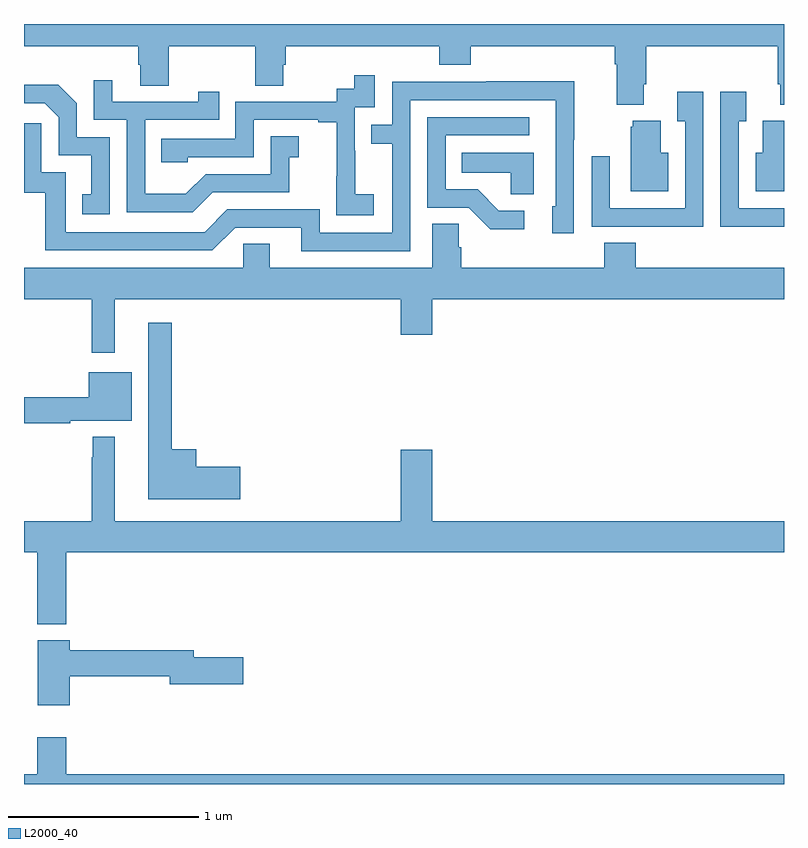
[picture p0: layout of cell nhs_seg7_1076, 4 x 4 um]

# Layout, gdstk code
import gdstk
lib = gdstk.Library(unit=1e-6, precision=1e-09)
def P(c, l, *ps):  # polygons
    for p in ps: c.add(gdstk.Polygon(p, *l))
L2000_40 = (2000, 40)

nhs_seg7_1076 = lib.new_cell('nhs_seg7_1076')
P(nhs_seg7_1076, L2000_40, [(190.967,1065.682),(190.979,1065.682),(190.979,1065.575),(191,1065.575),(191,1066),(187,1066),(187,1065.884),(187.601,1065.884),(187.601,1065.786),(187.613,1065.786),(187.613,1065.676),(187.761,1065.676),(187.761,1065.884),(188.218,1065.884),(188.218,1065.676),(188.365,1065.676),(188.365,1065.786),(188.378,1065.786),(188.378,1065.884),(189.185,1065.884),(189.185,1065.785),(189.35,1065.785),(189.35,1065.884),(190.109,1065.884),(190.109,1065.788),(190.121,1065.788),(190.121,1065.575),(190.261,1065.575),(190.261,1065.682),(190.274,1065.682),(190.274,1065.884),(190.967,1065.884)],
  [(188.842,1065.103),(188.744,1065.103),(188.744,1065.332),(188.742,1065.332),(188.742,1065.561),(188.847,1065.561),(188.847,1065.73),(188.739,1065.73),(188.739,1065.66),(188.646,1065.66),(188.646,1065.591),(188.112,1065.591),(188.112,1065.396),(187.723,1065.396),(187.723,1065.273),(187.863,1065.273),(187.863,1065.3),(188.208,1065.3),(188.208,1065.495),(188.549,1065.495),(188.549,1065.483),(188.645,1065.483),(188.645,1065.199),(188.644,1065.199),(188.644,1064.993),(188.842,1064.993)],
  [(187.993,1065.114),(188.397,1065.114),(188.397,1065.299),(188.446,1065.299),(188.446,1065.409),(188.298,1065.409),(188.298,1065.21),(187.956,1065.21),(187.852,1065.106),(187.638,1065.106),(187.638,1065.495),(188.027,1065.495),(188.027,1065.643),(187.916,1065.643),(187.916,1065.591),(187.465,1065.591),(187.465,1065.703),(187.368,1065.703),(187.368,1065.495),(187.542,1065.495),(187.542,1065.009),(187.888,1065.009)],
  [(189.033,1065.6),(189.798,1065.6),(189.798,1065.042),(189.779,1065.042),(189.779,1064.898),(189.894,1064.898),(189.894,1065.391),(189.897,1065.391),(189.897,1065.698),(189.433,1065.698),(189.433,1065.696),(188.937,1065.696),(188.937,1065.471),(188.827,1065.471),(188.827,1065.37),(188.937,1065.37),(188.937,1064.901),(188.556,1064.901),(188.556,1065.024),(188.07,1065.024),(187.95,1064.904),(187.221,1064.904),(187.221,1065.219),(187.092,1065.219),(187.092,1065.478),(187,1065.478),(187,1065.111),(187.113,1065.111),(187.113,1064.808),(187.992,1064.808),(188.112,1064.928),(188.459,1064.928),(188.459,1064.805),(189.033,1064.805)],
  [(187.452,1065.405),(187.278,1065.405),(187.278,1065.582),(187.18,1065.68),(187,1065.68),(187,1065.582),(187.11,1065.582),(187.182,1065.51),(187.182,1065.309),(187.355,1065.309),(187.355,1065.105),(187.306,1065.105),(187.306,1065),(187.452,1065)],
  [(190.575,1065.643),(190.439,1065.643),(190.439,1065.487),(190.479,1065.487),(190.479,1065.03),(190.083,1065.03),(190.083,1065.304),(189.987,1065.304),(189.987,1064.934),(190.303,1064.934),(190.303,1064.933),(190.575,1064.933)],
  [(190.937,1064.934),(191,1064.934),(191,1065.03),(190.761,1065.03),(190.761,1065.487),(190.801,1065.487),(190.801,1065.643),(190.665,1065.643),(190.665,1064.933),(190.937,1064.933)],
  [(189.634,1065.018),(189.499,1065.018),(189.388,1065.129),(189.219,1065.129),(189.219,1065.414),(189.658,1065.414),(189.658,1065.51),(189.123,1065.51),(189.123,1065.033),(189.342,1065.033),(189.455,1064.921),(189.634,1064.921)],
  [(190.39,1065.322),(190.351,1065.322),(190.351,1065.49),(190.205,1065.49),(190.205,1065.459),(190.193,1065.459),(190.193,1065.119),(190.39,1065.119)],
  [(191,1065.49),(190.889,1065.49),(190.889,1065.322),(190.85,1065.322),(190.85,1065.119),(191,1065.119)],
  [(189.682,1065.322),(189.304,1065.322),(189.304,1065.218),(189.561,1065.218),(189.561,1065.103),(189.682,1065.103)],
  [(187.477,1064.552),(188.984,1064.552),(188.984,1064.364),(189.148,1064.364),(189.148,1064.552),(191,1064.552),(191,1064.716),(190.22,1064.716),(190.22,1064.849),(190.055,1064.849),(190.055,1064.716),(189.302,1064.716),(189.302,1064.825),(189.288,1064.825),(189.288,1064.948),(189.149,1064.948),(189.149,1064.716),(188.293,1064.716),(188.293,1064.843),(188.154,1064.843),(188.154,1064.716),(187,1064.716),(187,1064.552),(187.356,1064.552),(187.356,1064.271),(187.477,1064.271)],
  [(188.137,1063.67),(187.906,1063.67),(187.906,1063.762),(187.777,1063.762),(187.777,1064.428),(187.655,1064.428),(187.655,1063.499),(188.137,1063.499)],
  [(187.244,1063.913),(187.567,1063.913),(187.567,1064.167),(187.34,1064.167),(187.34,1064.036),(187,1064.036),(187,1063.9),(187.244,1063.9)],
  [(187.223,1063.22),(191,1063.22),(191,1063.384),(189.148,1063.384),(189.148,1063.759),(188.984,1063.759),(188.984,1063.384),(187.477,1063.384),(187.477,1063.828),(187.362,1063.828),(187.362,1063.721),(187.356,1063.721),(187.356,1063.384),(187,1063.384),(187,1063.22),(187.07,1063.22),(187.07,1062.842),(187.223,1062.842)],
  [(187.24,1062.568),(187.766,1062.568),(187.766,1062.526),(188.155,1062.526),(188.155,1062.668),(187.894,1062.668),(187.894,1062.704),(187.24,1062.704),(187.24,1062.757),(187.073,1062.757),(187.073,1062.414),(187.24,1062.414)],
  [(191,1062.052),(187.223,1062.052),(187.223,1062.247),(187.07,1062.247),(187.07,1062.052),(187,1062.052),(187,1062),(191,1062)])

lib.write_gds('nhs_seg7_1076.gds')
